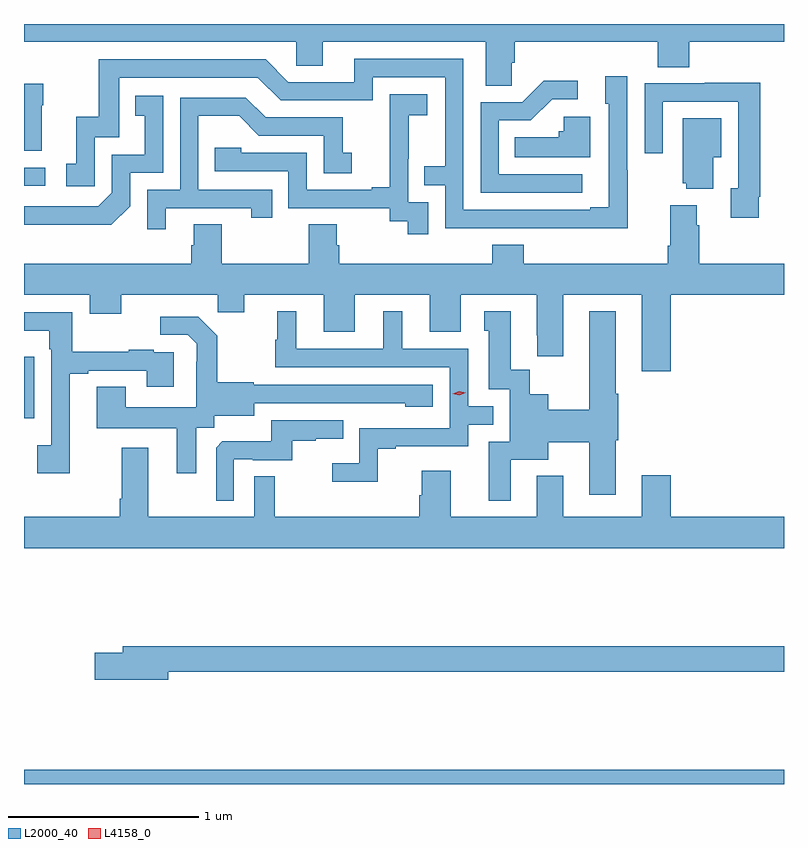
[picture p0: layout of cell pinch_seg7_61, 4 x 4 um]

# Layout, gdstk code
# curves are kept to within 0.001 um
import gdstk
lib = gdstk.Library(unit=1e-6, precision=1e-09)
def R(c, l, rs):  # rectangles x0, y0, x1, y1
    for r in rs: c.add(gdstk.rectangle(r[:2], r[2:], *l))
def P(c, l, *ps):  # polygons
    for p in ps: c.add(gdstk.Polygon(p, *l))
L2000_40 = (2000, 40)
L4158_0 = (4158, 0)

pinch_seg7_61 = lib.new_cell('pinch_seg7_61')
R(pinch_seg7_61, L2000_40, [(886.908,1068.638,890.908,1068.712), (886.908,1070.562,886.962,1070.887), (886.908,1071.786,887.02,1071.882)])
P(pinch_seg7_61, L2000_40, [(889.476,1072.435),(889.49,1072.435),(889.49,1072.544),(890.243,1072.544),(890.243,1072.411),(890.408,1072.411),(890.408,1072.544),(890.908,1072.544),(890.908,1072.638),(886.908,1072.638),(886.908,1072.544),(888.342,1072.544),(888.342,1072.417),(888.481,1072.417),(888.481,1072.544),(889.337,1072.544),(889.337,1072.312),(889.476,1072.312)],
  [(890.085,1071.869),(890.082,1071.869),(890.082,1072.363),(889.967,1072.363),(889.967,1072.218),(889.986,1072.218),(889.986,1071.673),(889.889,1071.673),(889.889,1071.66),(889.221,1071.66),(889.221,1072.455),(888.647,1072.455),(888.647,1072.332),(888.3,1072.332),(888.18,1072.452),(887.301,1072.452),(887.301,1072.15),(887.183,1072.15),(887.183,1071.903),(887.13,1071.903),(887.13,1071.783),(887.28,1071.783),(887.28,1072.041),(887.409,1072.041),(887.409,1072.356),(888.138,1072.356),(888.258,1072.236),(888.744,1072.236),(888.744,1072.359),(889.125,1072.359),(889.125,1071.89),(889.015,1071.89),(889.015,1071.789),(889.125,1071.789),(889.125,1071.564),(890.085,1071.563)],
  [(889.846,1071.846),(889.407,1071.846),(889.407,1072.131),(889.576,1072.131),(889.687,1072.242),(889.822,1072.242),(889.822,1072.34),(889.643,1072.34),(889.53,1072.227),(889.311,1072.227),(889.311,1071.75),(889.846,1071.75)],
  [(890.776,1071.73),(890.783,1071.73),(890.783,1072.328),(890.491,1072.328),(890.491,1072.326),(890.175,1072.326),(890.175,1071.957),(890.271,1071.957),(890.271,1072.23),(890.667,1072.23),(890.667,1071.774),(890.627,1071.774),(890.627,1071.618),(890.776,1071.618)],
  [(887.002,1072.211),(887.01,1072.211),(887.01,1072.324),(886.908,1072.324),(886.908,1071.971),(887.002,1071.971)],
  [(889.035,1071.699),(888.93,1071.699),(888.93,1071.929),(888.932,1071.929),(888.932,1072.157),(889.03,1072.157),(889.03,1072.267),(888.832,1072.267),(888.832,1072.061),(888.833,1072.061),(888.833,1071.778),(888.737,1071.778),(888.737,1071.765),(888.396,1071.765),(888.396,1071.96),(888.051,1071.96),(888.051,1071.987),(887.911,1071.987),(887.911,1071.864),(888.3,1071.864),(888.3,1071.669),(888.834,1071.669),(888.834,1071.601),(888.927,1071.601),(888.927,1071.531),(889.035,1071.531)],
  [(887.466,1071.678),(887.466,1071.855),(887.64,1071.855),(887.64,1072.261),(887.494,1072.261),(887.494,1072.155),(887.543,1072.155),(887.543,1071.951),(887.37,1071.951),(887.37,1071.75),(887.298,1071.678),(886.908,1071.678),(886.908,1071.582),(886.96,1071.581),(887.368,1071.581)],
  [(887.653,1071.669),(888.104,1071.669),(888.104,1071.618),(888.215,1071.618),(888.215,1071.765),(887.826,1071.765),(887.826,1072.154),(888.04,1072.154),(888.144,1072.05),(888.486,1072.05),(888.486,1071.852),(888.634,1071.852),(888.634,1071.961),(888.585,1071.961),(888.585,1072.146),(888.181,1072.146),(888.076,1072.251),(887.73,1072.251),(887.73,1071.765),(887.556,1071.765),(887.556,1071.558),(887.653,1071.558)],
  [(889.888,1072.15),(889.749,1072.15),(889.749,1072.074),(889.723,1072.074),(889.723,1072.042),(889.492,1072.042),(889.492,1071.938),(889.888,1071.938)],
  [(890.536,1071.938),(890.578,1071.938),(890.578,1072.141),(890.375,1072.141),(890.375,1071.801),(890.393,1071.801),(890.393,1071.77),(890.536,1071.77)],
  [(889.538,1071.475),(889.373,1071.475),(889.373,1071.376),(888.566,1071.376),(888.566,1071.474),(888.553,1071.474),(888.553,1071.584),(888.406,1071.584),(888.406,1071.376),(887.949,1071.376),(887.949,1071.584),(887.801,1071.584),(887.801,1071.474),(887.789,1071.474),(887.789,1071.376),(886.908,1071.376),(886.908,1071.212),(887.255,1071.212),(887.255,1071.113),(887.419,1071.113),(887.419,1071.212),(887.929,1071.212),(887.929,1071.122),(888.067,1071.122),(888.067,1071.212),(888.485,1071.212),(888.485,1071.018),(888.649,1071.018),(888.649,1071.212),(889.043,1071.212),(889.043,1071.018),(889.207,1071.018),(889.207,1071.212),(889.607,1071.212),(889.607,1071.001),(889.61,1071.001),(889.61,1070.889),(889.747,1070.889),(889.747,1071.212),(890.159,1071.212),(890.159,1070.811),(890.312,1070.811),(890.312,1071.212),(890.908,1071.212),(890.908,1071.376),(890.462,1071.376),(890.462,1071.578),(890.449,1071.578),(890.449,1071.685),(890.309,1071.685),(890.309,1071.472),(890.297,1071.472),(890.297,1071.376),(889.538,1071.376)],
  [(889.471,1070.345),(889.666,1070.345),(889.666,1070.437),(889.883,1070.437),(889.883,1070.16),(890.023,1070.16),(890.023,1070.448),(890.036,1070.448),(890.036,1070.692),(890.023,1070.692),(890.023,1071.127),(889.883,1071.127),(889.883,1070.609),(889.666,1070.609),(889.666,1070.689),(889.569,1070.689),(889.569,1070.819),(889.471,1070.819),(889.471,1071.127),(889.331,1071.127),(889.331,1071.024),(889.355,1071.024),(889.355,1070.715),(889.464,1070.715),(889.464,1070.439),(889.355,1070.439),(889.355,1070.13),(889.471,1070.13)],
  [(888.771,1070.403),(888.865,1070.403),(888.865,1070.415),(889.245,1070.415),(889.245,1070.529),(889.378,1070.529),(889.378,1070.625),(889.245,1070.625),(889.245,1070.928),(888.898,1070.928),(888.898,1071.127),(888.8,1071.127),(888.8,1070.928),(888.34,1070.928),(888.34,1071.127),(888.242,1071.127),(888.242,1070.976),(888.231,1070.976),(888.231,1070.832),(889.149,1070.832),(889.149,1070.511),(888.672,1070.511),(888.672,1070.326),(888.531,1070.326),(888.531,1070.228),(888.771,1070.228)],
  [(887.149,1070.796),(887.245,1070.796),(887.245,1070.814),(887.555,1070.814),(887.555,1070.73),(887.695,1070.73),(887.695,1070.91),(887.591,1070.91),(887.591,1070.923),(887.459,1070.923),(887.459,1070.912),(887.161,1070.912),(887.161,1071.12),(886.908,1071.12),(886.908,1071.023),(887.04,1071.023),(887.04,1070.927),(887.052,1070.927),(887.052,1070.422),(886.977,1070.422),(886.977,1070.274),(887.149,1070.274)],
  [(887.815,1070.512),(887.91,1070.512),(887.91,1070.576),(888.121,1070.576),(888.121,1070.643),(888.915,1070.642),(888.915,1070.624),(889.06,1070.624),(889.06,1070.739),(888.117,1070.739),(888.117,1070.752),(887.925,1070.752),(887.925,1070.997),(887.825,1071.097),(887.625,1071.097),(887.625,1071.003),(887.769,1071.003),(887.816,1070.956),(887.816,1070.861),(887.814,1070.861),(887.814,1070.62),(887.443,1070.62),(887.443,1070.729),(887.291,1070.729),(887.291,1070.51),(887.711,1070.51),(887.711,1070.274),(887.815,1070.274)],
  [(888.012,1070.346),(888.112,1070.346),(888.112,1070.343),(888.32,1070.343),(888.32,1070.445),(888.443,1070.445),(888.443,1070.456),(888.587,1070.456),(888.587,1070.553),(888.21,1070.553),(888.21,1070.441),(887.951,1070.441),(887.919,1070.409),(887.919,1070.129),(888.012,1070.129)],
  [(890.908,1070.044),(890.312,1070.044),(890.312,1070.263),(890.159,1070.263),(890.159,1070.044),(889.747,1070.044),(889.747,1070.26),(889.607,1070.26),(889.607,1070.044),(889.153,1070.044),(889.153,1070.287),(889.001,1070.287),(889.001,1070.157),(888.989,1070.157),(888.989,1070.044),(888.229,1070.044),(888.229,1070.258),(888.12,1070.258),(888.12,1070.044),(887.563,1070.044),(887.563,1070.407),(887.423,1070.407),(887.423,1070.14),(887.411,1070.14),(887.411,1070.044),(886.908,1070.044),(886.908,1069.88),(890.908,1069.88)],
  [(887.668,1069.228),(890.908,1069.228),(890.908,1069.364),(887.429,1069.364),(887.429,1069.328),(887.28,1069.328),(887.28,1069.186),(887.668,1069.186)])
P(pinch_seg7_61, L4158_0, [(889.2,1070.684),(889.165,1070.692),(889.165,1070.692),(889.165,1070.692),(889.198,1070.704),(889.234,1070.697),(889.234,1070.697),(889.234,1070.697)])

lib.write_gds('pinch_seg7_61.gds')
